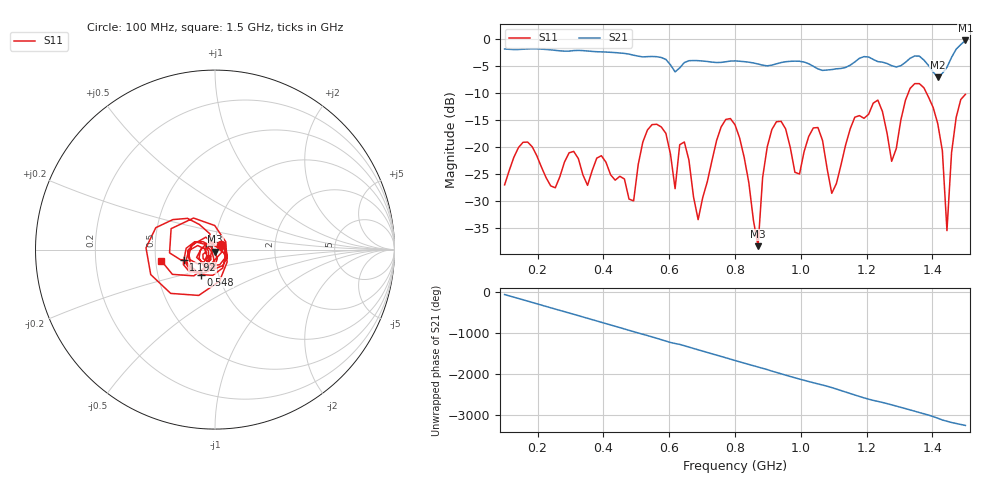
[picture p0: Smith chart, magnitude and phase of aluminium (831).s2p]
! NanoVNA-App
! Date: 2025-09-25 15:01:45
! Start: 100MHz Stop: 1,5GHz Points: 101
! S-Parameter data: F S11 S21 S12 S22
# Hz S RI R 50
!  Frequency  S11_Real  S11_Imag  S21_Real  S21_Imag  S12_Real  S12_Imag  S22_Real  S22_Imag
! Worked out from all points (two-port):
!   101 points, 100 MHz to 1.5 GHz, reference 50 ohm
!   highest |S21| = -0.35 dB at 1.5 GHz (marker M1); lowest = -7.2 dB at 1.416 GHz (marker M2)
!   |S21| within 3 dB of the highest: start of sweep to 517.1 MHz; 528.6 MHz to 562.5 MHz (33.93 MHz wide, 6.22 % of centre) (the widest 2 of 5)
!   lowest |S11| = -38.3 dB at 870 MHz (marker M3), VSWR 1.02, Z = 50.1 - j1.22 ohm
!   |S11| at or under -10 dB: start of sweep to 1.327 GHz; 1.382 GHz to end of sweep
!   S12 and S22 are empty: the file has one direction only
!   S11 on the Smith chart (normalised r, x): 100 MHz: 1.07, +0.06; 548 MHz: 0.82, -0.23; 1.192 GHz: 0.70, -0.08; 1.5 GHz: 0.54, -0.07
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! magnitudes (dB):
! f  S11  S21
! 100 MHz  -27.0  -1.9
! 156 MHz  -19.1  -2.0
! 338 MHz  -25.1  -2.2
! 492 MHz  -29.9  -3.1
! 548 MHz  -15.9  -3.3
! 576 MHz  -16.3  -3.5
! 618 MHz  -27.7  -6.1
! 646 MHz  -19.1  -4.4
! 688 MHz  -33.4  -4.1
! 800 MHz  -15.9  -4.1
! 870 MHz  -38.3  -4.7
! 912 MHz  -16.8  -4.9
! 996 MHz  -25.0  -4.2
! 1.038 GHz  -16.5  -5.1
! 1.094 GHz  -28.5  -5.7
! 1.192 GHz  -14.7  -3.3
! 1.276 GHz  -22.6  -5.0
! 1.346 GHz  -8.3  -3.2
! 1.416 GHz  -15.7  -7.2
! 1.444 GHz  -35.4  -5.3
! 1.472 GHz  -14.5  -2.0
! 1.5 GHz  -10.3  -0.4
